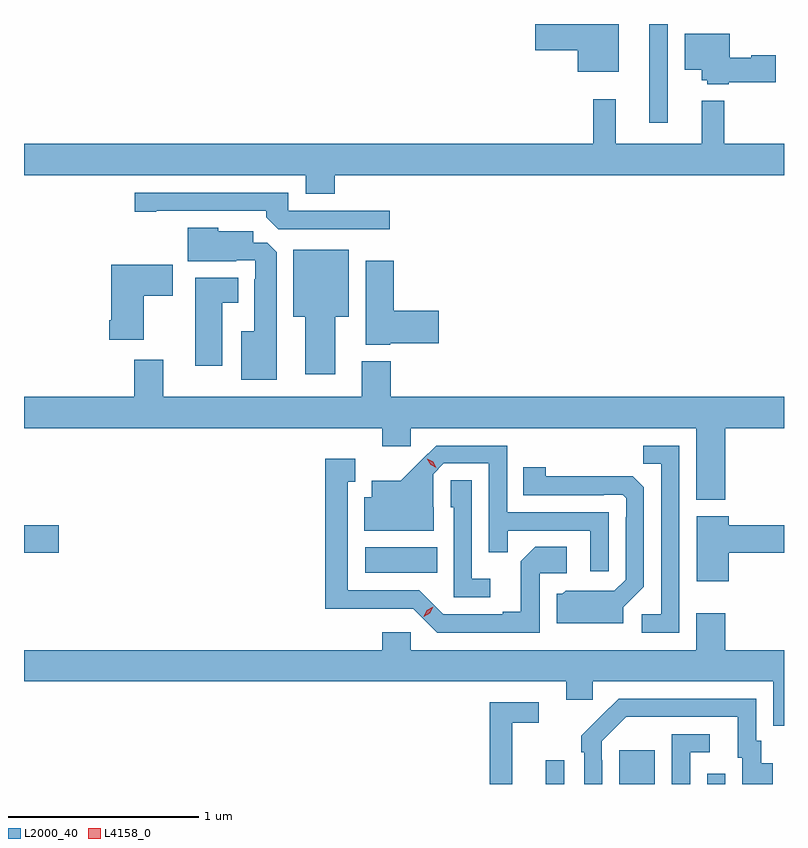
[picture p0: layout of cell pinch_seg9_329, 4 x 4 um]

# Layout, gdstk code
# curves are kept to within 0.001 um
import gdstk
lib = gdstk.Library(unit=1e-6, precision=1e-09)
def R(c, l, rs):  # rectangles x0, y0, x1, y1
    for r in rs: c.add(gdstk.rectangle(r[:2], r[2:], *l))
def P(c, l, *ps):  # polygons
    for p in ps: c.add(gdstk.Polygon(p, *l))
L2000_40 = (2000, 40)
L4158_0 = (4158, 0)

pinch_seg9_329 = lib.new_cell('pinch_seg9_329')
R(pinch_seg9_329, L2000_40, [(615.627,1189.219,615.723,1189.345), (616.013,1189.219,616.201,1189.396), (616.476,1189.219,616.572,1189.273), (614.676,1190.33,615.056,1190.464), (612.88,1190.435,613.063,1190.582), (616.172,1192.698,616.269,1193.219)])
P(pinch_seg9_329, L2000_40, [(616.009,1193.219),(615.57,1193.219),(615.57,1193.081),(615.794,1193.081),(615.794,1192.967),(616.009,1192.967)],
  [(616.59,1192.912),(616.837,1192.912),(616.837,1193.054),(616.707,1193.054),(616.707,1193.041),(616.594,1193.041),(616.594,1193.167),(616.358,1193.167),(616.358,1192.979),(616.448,1192.979),(616.448,1192.923),(616.476,1192.923),(616.476,1192.901),(616.59,1192.901)],
  [(614.516,1192.424),(616.88,1192.424),(616.88,1192.588),(616.565,1192.588),(616.565,1192.816),(616.448,1192.816),(616.448,1192.588),(615.995,1192.588),(615.995,1192.822),(615.877,1192.822),(615.877,1192.588),(612.88,1192.588),(612.88,1192.424),(614.363,1192.424),(614.363,1192.325),(614.516,1192.325)],
  [(614.806,1192.236),(614.271,1192.236),(614.271,1192.332),(613.464,1192.332),(613.464,1192.231),(613.576,1192.231),(613.576,1192.236),(614.156,1192.236),(614.156,1192.202),(614.217,1192.14),(614.806,1192.14)],
  [(614.209,1192.019),(614.16,1192.068),(614.086,1192.068),(614.086,1192.129),(613.902,1192.129),(613.902,1192.147),(613.742,1192.147),(613.742,1191.971),(613.997,1191.971),(613.997,1191.975),(614.097,1191.975),(614.097,1191.875),(614.093,1191.875),(614.093,1191.601),(614.024,1191.601),(614.024,1191.347),(614.209,1191.347)],
  [(614.518,1191.677),(614.59,1191.677),(614.59,1192.03),(614.297,1192.03),(614.297,1191.677),(614.36,1191.677),(614.36,1191.375),(614.518,1191.375)],
  [(614.808,1191.539),(615.064,1191.539),(615.064,1191.71),(614.825,1191.71),(614.825,1191.973),(614.678,1191.973),(614.678,1191.53),(614.808,1191.53)],
  [(613.51,1191.79),(613.663,1191.79),(613.663,1191.952),(613.34,1191.952),(613.34,1191.661),(613.328,1191.661),(613.328,1191.557),(613.51,1191.557)],
  [(613.924,1191.752),(614.008,1191.752),(614.008,1191.883),(613.781,1191.883),(613.781,1191.42),(613.924,1191.42)],
  [(616.571,1191.092),(616.88,1191.092),(616.88,1191.256),(614.81,1191.256),(614.81,1191.445),(614.657,1191.445),(614.657,1191.256),(613.612,1191.256),(613.612,1191.451),(613.46,1191.451),(613.46,1191.256),(612.88,1191.256),(612.88,1191.092),(614.765,1191.092),(614.765,1190.997),(614.916,1190.997),(614.916,1191.092),(616.418,1191.092),(616.418,1190.714),(616.571,1190.714)],
  [(616.329,1191),(616.138,1191),(616.138,1190.905),(616.233,1190.905),(616.233,1190.112),(616.131,1190.112),(616.131,1190.016),(616.329,1190.016)],
  [(615.957,1190.649),(615.423,1190.649),(615.423,1191),(615.05,1191),(614.863,1190.815),(614.711,1190.815),(614.711,1190.728),(614.672,1190.728),(614.672,1190.552),(615.037,1190.552),(615.037,1190.676),(615.033,1190.676),(615.033,1190.85),(615.09,1190.907),(615.327,1190.907),(615.327,1190.44),(615.425,1190.44),(615.425,1190.553),(615.861,1190.553),(615.861,1190.34),(615.957,1190.34)],
  [(615.594,1190.328),(615.736,1190.328),(615.736,1190.468),(615.571,1190.468),(615.495,1190.392),(615.495,1190.125),(615.401,1190.125),(615.401,1190.112),(615.087,1190.112),(614.961,1190.238),(614.584,1190.238),(614.584,1190.811),(614.623,1190.811),(614.623,1190.932),(614.466,1190.932),(614.466,1190.141),(614.928,1190.142),(615.054,1190.016),(615.594,1190.016)],
  [(616.033,1190.148),(616.143,1190.258),(616.143,1190.78),(616.084,1190.839),(615.627,1190.84),(615.627,1190.887),(615.508,1190.887),(615.508,1190.739),(615.932,1190.739),(615.932,1190.742),(616.032,1190.742),(616.05,1190.724),(616.05,1190.624),(616.047,1190.624),(616.047,1190.295),(615.987,1190.235),(615.73,1190.236),(615.714,1190.22),(615.683,1190.22),(615.683,1190.066),(616.033,1190.066)],
  [(615.334,1190.299),(615.237,1190.299),(615.237,1190.819),(615.126,1190.819),(615.126,1190.676),(615.141,1190.676),(615.141,1190.202),(615.334,1190.202)],
  [(616.588,1190.435),(616.88,1190.435),(616.88,1190.582),(616.588,1190.582),(616.588,1190.629),(616.421,1190.629),(616.421,1190.286),(616.588,1190.286)],
  [(616.88,1189.924),(616.571,1189.924),(616.571,1190.119),(616.418,1190.119),(616.418,1189.924),(614.916,1189.924),(614.916,1190.017),(614.765,1190.017),(614.765,1189.924),(612.88,1189.924),(612.88,1189.76),(615.734,1189.76),(615.734,1189.662),(615.873,1189.662),(615.873,1189.76),(616.823,1189.76),(616.823,1189.525),(616.88,1189.525)],
  [(615.924,1189.343),(615.921,1189.343),(615.921,1189.443),(616.05,1189.572),(616.637,1189.572),(616.637,1189.356),(616.661,1189.356),(616.661,1189.219),(616.822,1189.219),(616.822,1189.327),(616.759,1189.327),(616.759,1189.446),(616.734,1189.446),(616.734,1189.668),(616.01,1189.668),(615.813,1189.473),(615.813,1189.385),(615.828,1189.385),(615.828,1189.219),(615.924,1189.219)],
  [(615.449,1189.542),(615.589,1189.542),(615.589,1189.65),(615.331,1189.65),(615.331,1189.219),(615.449,1189.219)],
  [(616.386,1189.386),(616.489,1189.386),(616.489,1189.482),(616.29,1189.482),(616.29,1189.219),(616.386,1189.219)])
P(pinch_seg9_329, L4158_0, [(615.05,1190.884),(615.02,1190.9),(615.003,1190.929),(615.003,1190.93),(615.003,1190.93),(615.034,1190.914),(615.051,1190.884),(615.051,1190.884)],
  [(614.985,1190.1),(614.985,1190.1),(615.001,1190.133),(615.033,1190.153),(615.033,1190.153),(615.033,1190.152),(615.016,1190.119),(614.985,1190.1)])

lib.write_gds('pinch_seg9_329.gds')
